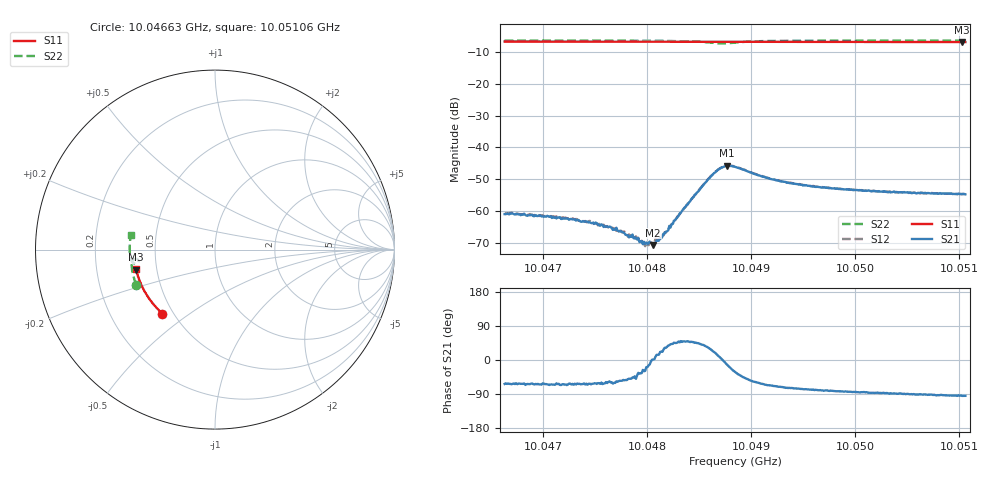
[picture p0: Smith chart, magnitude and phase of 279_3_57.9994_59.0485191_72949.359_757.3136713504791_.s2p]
#  HZ  S  RI  R  50.00
! Rohde & Schwarz Vector Network Analyzer
! Rohde-Schwarz,ZNB20-2Port,1311601062101988,3.16
! Created: UTC 3/21/2024, 1:02:49 AM
! freq[Hz]  re:S11  im:S11  re:S21  im:S21  re:S12  im:S12  re:S22  im:S22
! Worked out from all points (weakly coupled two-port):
!   401 points, 10.04663 GHz to 10.05106 GHz, reference 50 ohm
!   highest |S21| = -45.80 dB at 10.04877 GHz (marker M1); lowest = -70.7 dB at 10.04806 GHz (marker M2)
!   lowest |S11| = -6.9 dB at 10.05103 GHz (marker M3), VSWR 2.66, Z = 19.1 - j5.35 ohm
!   |S11| at or under -10 dB: nowhere
!   |S22| runs from -7.3 to -6.4 dB; largest |S21 - S12| = 0.00035
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1.0046626e10  -0.2926 -0.3561  0.000401 -0.000794  0.000472 -0.0008  -0.4376 -0.1962
1.0047047e10  -0.313 -0.3371  0.000348 -0.000744  0.000398 -0.000712  -0.4475 -0.1697
1.0047302e10  -0.3248 -0.3251  0.000336 -0.000647  0.000353 -0.000642  -0.4531 -0.1527
1.0047369e10  -0.3278 -0.3217  0.0003 -0.000604  0.000323 -0.000602  -0.4543 -0.1483
1.0047502e10  -0.3337 -0.3151  0.00031 -0.000578  0.000333 -0.000541  -0.4567 -0.1392
1.0047657e10  -0.3405 -0.3076  0.000277 -0.000453  0.000298 -0.000456  -0.4594 -0.1286
1.004789e10  -0.3502 -0.2955  0.000244 -0.000288  0.000316 -0.000241  -0.4624 -0.1116
1.0047945e10  -0.3523 -0.2927  0.000274 -0.000188  0.000299 -0.00016  -0.4632 -0.1075
1.0047989e10  -0.3541 -0.2904  0.000301 -0.000102  0.000305 -7.83e-05  -0.4636 -0.1039
1.0048056e10  -0.3569 -0.2869  0.000292 6.89e-06  0.00032 2.22e-05  -0.464 -0.0987
1.0048111e10  -0.3591 -0.284  0.000331 8.36e-05  0.000354 0.000123  -0.4643 -0.0941
1.0048178e10  -0.3616 -0.2805  0.000401 0.000249  0.00037 0.000266  -0.4643 -0.0884
1.0048333e10  -0.3676 -0.2721  0.000671 0.000737  0.000632 0.000789  -0.4628 -0.0742
1.0048599e10  -0.3771 -0.2573  0.00286 0.00166  0.0028 0.00184  -0.4421 -0.0513
1.0048688e10  -0.3801 -0.2524  0.00445 0.00075  0.00444 0.00102  -0.4287 -0.0565
1.0048765e10  -0.3827 -0.2483  0.00502 -0.00106  0.00509 -0.00074  -0.4268 -0.0699
1.0048843e10  -0.3853 -0.2442  0.0042 -0.00259  0.0044 -0.00235  -0.4369 -0.0786
1.004922e10  -0.3977 -0.2227  0.00113 -0.0029  0.00132 -0.00282  -0.4689 -0.0525
1.0049586e10  -0.4085 -0.201  0.000475 -0.00238  0.000653 -0.00236  -0.4746 -0.023
1.0050328e10  -0.4267 -0.1557  3.82e-05 -0.002  0.000191 -0.00199  -0.4748 0.0299
1.0051027e10  -0.439 -0.1115  -0.000151 -0.00183  -4.91e-05 -0.00182  -0.4695 0.0766
1.005106e10  -0.4396 -0.1095  -0.000145 -0.00182  -3.63e-05 -0.00185  -0.4689 0.0788
